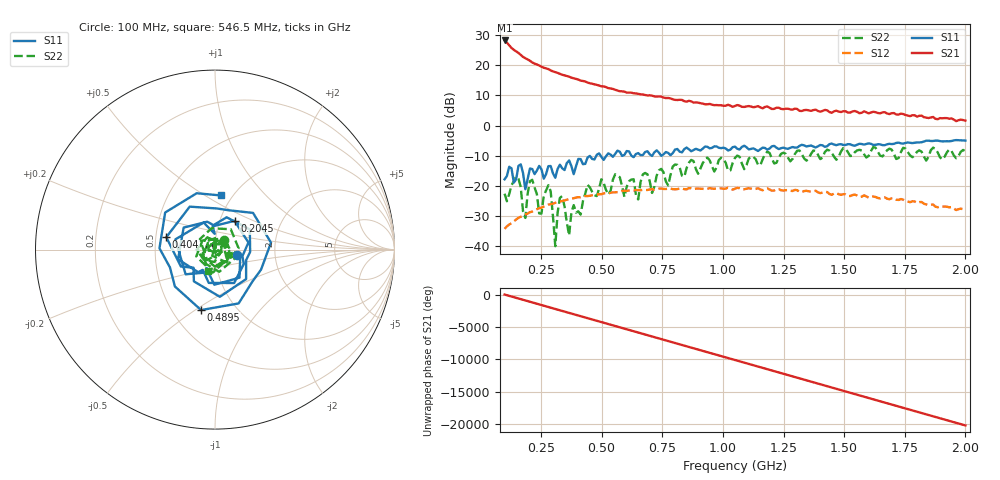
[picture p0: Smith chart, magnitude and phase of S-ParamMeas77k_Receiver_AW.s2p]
!Keysight Technologies,N5242B,MY48420967,A.15.65.19
!Date: Saturday, February 04, 2023 05:29:55
!Correction: S11(C  1-Port  )
!S21(Off)
!S12(Off)
!S22(Off)
!S2P File: Measurements: S11, S21, S12, S22:
# Hz S  dB  R 50
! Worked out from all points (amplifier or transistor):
!   201 points, 100 MHz to 2 GHz, reference 50 ohm
!   highest |S21| = 28.2 dB at 100 MHz (marker M1)
!   |S21| within 3 dB of that: start of sweep to 136.4 MHz
!   unconditionally stable (mu >= 1): start of sweep to end of sweep
!   at 413.5 MHz: K = 1.46, MAG = 15.3 dB, |S12| = -23.7 dB
!   at 1.05 GHz: K = 2.12, MAG = 7.7 dB, |S12| = -20.9 dB
!   at 2 GHz: K = 5.87, MAG = 4.1 dB, |S12| = -27.9 dB
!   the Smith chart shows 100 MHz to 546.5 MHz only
!   S11 on the Smith chart (normalised r, x): 100 MHz: 1.28, -0.08; 204.5 MHz: 1.17, +0.39; 404 MHz: 0.57, +0.09; 489.5 MHz: 0.69, -0.53; 546.5 MHz: 0.89, +0.59
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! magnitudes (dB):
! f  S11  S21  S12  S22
! 100 MHz  -17.8  28.2  -34.2  -22.6
! 157 MHz  -13.4  24.1  -30.6  -17.6
! 185.5 MHz  -21.1  22.3  -29.5  -30.6
! 204.5 MHz  -14.3  21.5  -28.7  -18.4
! 242.5 MHz  -13.4  19.9  -27.4  -29.1
! 280.5 MHz  -13.4  18.7  -26.2  -19.8
! 309 MHz  -17.3  17.7  -25.6  -40.0
! 328 MHz  -13.0  17.1  -25.2  -24.0
! 366 MHz  -11.6  16.2  -24.4  -36.4
! 385 MHz  -16.1  15.7  -24.1  -26.4
! 404 MHz  -11.1  15.2  -23.7  -28.4
! 423 MHz  -12.8  14.8  -23.5  -25.0
! 489.5 MHz  -9.2  13.3  -22.8  -20.9
! 546.5 MHz  -10.4  12.1  -22.1  -17.9
! 651 MHz  -9.1  10.5  -21.4  -24.5
! 670 MHz  -9.8  10.3  -21.3  -16.2
! 708 MHz  -10.1  9.9  -21.1  -22.3
! 736.5 MHz  -9.0  9.7  -20.9  -14.8
! 1.05 GHz  -7.0  6.5  -20.9  -10.7
! 1.373 GHz  -6.9  5.1  -21.7  -8.3
! 1.687 GHz  -6.0  3.8  -24.4  -7.7
! 2 GHz  -5.0  1.6  -27.9  -8.5
